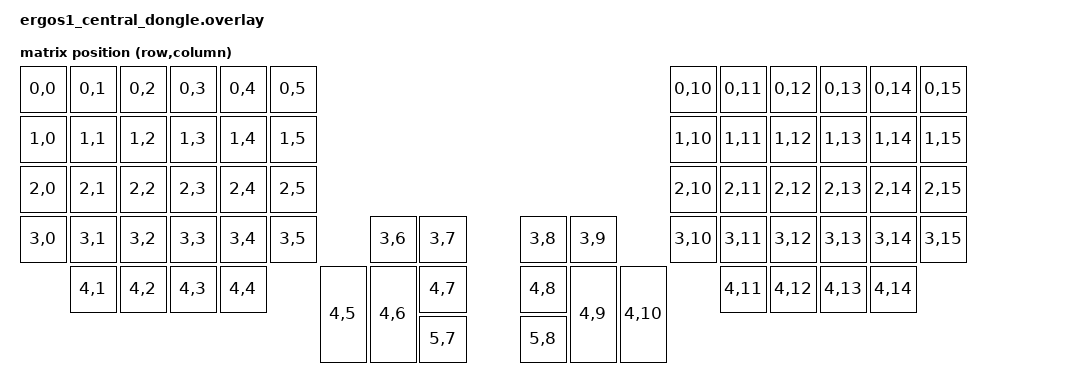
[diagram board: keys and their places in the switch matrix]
/*
 * Copyright (c) 2020 The ZMK Contributors
 *
 * SPDX-License-Identifier: MIT
 */
#include <dt-bindings/zmk/matrix_transform.h>
#include <physical_layouts.dtsi>


/ {
    chosen {
        zmk,kscan = &mock_kscan;
        zephyr,display = &oled;
        zmk,physical-layout = &layout_0;
    };

    default_transform: keymap_transform_0 {
        compatible = "zmk,matrix-transform";
        columns = <16>;
        rows = <6>;
		map = <
	RC(0,0) RC(0,1) RC(0,2) RC(0,3) RC(0,4) RC(0,5)                                                     RC(0,10) RC(0,11) RC(0,12) RC(0,13) RC(0,14) RC(0,15)
    RC(1,0) RC(1,1) RC(1,2) RC(1,3) RC(1,4) RC(1,5)                                                     RC(1,10) RC(1,11) RC(1,12) RC(1,13) RC(1,14) RC(1,15)
    RC(2,0) RC(2,1) RC(2,2) RC(2,3) RC(2,4) RC(2,5)                                                     RC(2,10) RC(2,11) RC(2,12) RC(2,13) RC(2,14) RC(2,15)
    RC(3,0) RC(3,1) RC(3,2) RC(3,3) RC(3,4) RC(3,5)         RC(3,6) RC(3,7)     RC(3,8) RC(3,9)         RC(3,10) RC(3,11) RC(3,12) RC(3,13) RC(3,14) RC(3,15)
            RC(4,1) RC(4,2) RC(4,3) RC(4,4)         RC(4,5) RC(4,6) RC(4,7)     RC(4,8) RC(4,9) RC(4,10)         RC(4,11) RC(4,12) RC(4,13) RC(4,14)
                                                                    RC(5,7)     RC(5,8)
        >;
    };

    mock_kscan: kscan_0 {
        compatible = "zmk,kscan-mock";
        columns = <0>;
        rows = <0>;
        events = <0>;
    };

    layout_0: layout_0 {
        compatible = "zmk,physical-layout";
        display-name = "Ergo S-1";
        kscan = <&mock_kscan>;
        transform = <&default_transform>;

        keys  //                     w   h    x    y     rot    rx    ry
            = <&key_physical_attrs 100 100    0    0       0     0     0>
            , <&key_physical_attrs 100 100  100    0       0     0     0>
            , <&key_physical_attrs 100 100  200    0       0     0     0>
            , <&key_physical_attrs 100 100  300    0       0     0     0>
            , <&key_physical_attrs 100 100  400    0       0     0     0>
            , <&key_physical_attrs 100 100  500    0       0     0     0>
            , <&key_physical_attrs 100 100 1300    0       0     0     0>
            , <&key_physical_attrs 100 100 1400    0       0     0     0>
            , <&key_physical_attrs 100 100 1500    0       0     0     0>
            , <&key_physical_attrs 100 100 1600    0       0     0     0>
            , <&key_physical_attrs 100 100 1700    0       0     0     0>
            , <&key_physical_attrs 100 100 1800    0       0     0     0>
            , <&key_physical_attrs 100 100    0  100       0     0     0>
            , <&key_physical_attrs 100 100  100  100       0     0     0>
            , <&key_physical_attrs 100 100  200  100       0     0     0>
            , <&key_physical_attrs 100 100  300  100       0     0     0>
            , <&key_physical_attrs 100 100  400  100       0     0     0>
            , <&key_physical_attrs 100 100  500  100       0     0     0>
            , <&key_physical_attrs 100 100 1300  100       0     0     0>
            , <&key_physical_attrs 100 100 1400  100       0     0     0>
            , <&key_physical_attrs 100 100 1500  100       0     0     0>
            , <&key_physical_attrs 100 100 1600  100       0     0     0>
            , <&key_physical_attrs 100 100 1700  100       0     0     0>
            , <&key_physical_attrs 100 100 1800  100       0     0     0>
            , <&key_physical_attrs 100 100    0  200       0     0     0>
            , <&key_physical_attrs 100 100  100  200       0     0     0>
            , <&key_physical_attrs 100 100  200  200       0     0     0>
            , <&key_physical_attrs 100 100  300  200       0     0     0>
            , <&key_physical_attrs 100 100  400  200       0     0     0>
            , <&key_physical_attrs 100 100  500  200       0     0     0>
            , <&key_physical_attrs 100 100 1300  200       0     0     0>
            , <&key_physical_attrs 100 100 1400  200       0     0     0>
            , <&key_physical_attrs 100 100 1500  200       0     0     0>
            , <&key_physical_attrs 100 100 1600  200       0     0     0>
            , <&key_physical_attrs 100 100 1700  200       0     0     0>
            , <&key_physical_attrs 100 100 1800  200       0     0     0>
            , <&key_physical_attrs 100 100    0  300       0     0     0>
            , <&key_physical_attrs 100 100  100  300       0     0     0>
            , <&key_physical_attrs 100 100  200  300       0     0     0>
            , <&key_physical_attrs 100 100  300  300       0     0     0>
            , <&key_physical_attrs 100 100  400  300       0     0     0>
            , <&key_physical_attrs 100 100  500  300       0     0     0>
            , <&key_physical_attrs 100 100  700  300       0     0     0>
            , <&key_physical_attrs 100 100  800  300       0     0     0>
            , <&key_physical_attrs 100 100 1000  300       0     0     0>
            , <&key_physical_attrs 100 100 1100  300       0     0     0>
            , <&key_physical_attrs 100 100 1300  300       0     0     0>
            , <&key_physical_attrs 100 100 1400  300       0     0     0>
            , <&key_physical_attrs 100 100 1500  300       0     0     0>
            , <&key_physical_attrs 100 100 1600  300       0     0     0>
            , <&key_physical_attrs 100 100 1700  300       0     0     0>
            , <&key_physical_attrs 100 100 1800  300       0     0     0>
            , <&key_physical_attrs 100 100  100  400       0     0     0>
            , <&key_physical_attrs 100 100  200  400       0     0     0>
            , <&key_physical_attrs 100 100  300  400       0     0     0>
            , <&key_physical_attrs 100 100  400  400       0     0     0>
            , <&key_physical_attrs 100 200  600  400       0     0     0>
            , <&key_physical_attrs 100 200  700  400       0     0     0>
            , <&key_physical_attrs 100 100  800  400       0     0     0>
            , <&key_physical_attrs 100 100 1000  400       0     0     0>
            , <&key_physical_attrs 100 200 1100  400       0     0     0>
            , <&key_physical_attrs 100 200 1200  400       0     0     0>
            , <&key_physical_attrs 100 100 1400  400       0     0     0>
            , <&key_physical_attrs 100 100 1500  400       0     0     0>
            , <&key_physical_attrs 100 100 1600  400       0     0     0>
            , <&key_physical_attrs 100 100 1700  400       0     0     0>
            , <&key_physical_attrs 100 100  800  500       0     0     0>
            , <&key_physical_attrs 100 100 1000  500       0     0     0>
            ;
    };

};

&pro_micro_i2c {
    status = "okay";
    oled: ssd1306@3c {
        compatible = "solomon,ssd1306fb";
        reg = <0x3c>;
        width = <128>;
        height = <64>;
        segment-offset = <0>;
        page-offset = <0>;
        display-offset = <0>;
        multiplex-ratio = <63>;
        segment-remap;
        com-invdir;
        inversion-on;
        prechargep = <0x22>;
        };
}; 
